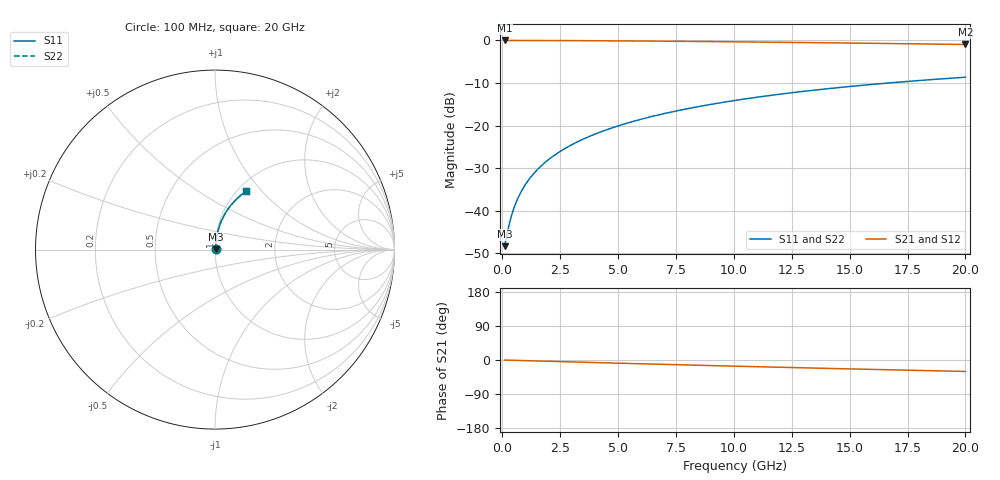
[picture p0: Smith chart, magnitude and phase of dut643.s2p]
! Touchstone file exported from HFSS 2024.1.0
!  File:  C:/UserFiles/LocalFiles/RDL_TSV_Batchsim/temp_RDL_bottom_643_1779784978.aedt
!  Generated:  04:45:22 PM May 26, 2026
!  Design:  RDL_bottom
!  Project:  temp_RDL_bottom_643_1779784978
!  Setup:  Setup1
!  Solution:  Sweep
! Variables:
!  dtsv = 10.80580581um
!  hbump = 3um
!  htsv = 59.97um
!  ldown = 362.44um
!  lrdl = 100um
!  p = 40
!  p1 = 47.27um
!  rhole = 1um
!  t = 450um
!  tdown = 3.44um
!  trdl = 3.915915916um
!  wdown = 11.95um
!  wrdl = 20um
# GHz S MA R 50.000000
! Terminal data exported
! Port[1] = RDL1_T1
! Port[2] = RDL1_T2
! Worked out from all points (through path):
!   200 points, 100 MHz to 20 GHz, reference 50 ohm
!   highest |S21| = -0.03 dB at 100 MHz (marker M1); lowest = -1.0 dB at 20 GHz (marker M2)
!   group delay of S21, straight-line fit = 4.19 ps
!   lowest |S11| = -48.3 dB at 100 MHz (marker M3), VSWR 1.01, Z = 50.3 + j0.206 ohm
!   |S11| at or under -10 dB: start of sweep to 16.71 GHz
!   |S22| runs from -48.3 to -8.7 dB; largest |S21 - S12| = 2.6e-15
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0.1  0.003829 32.3  0.9968 -0.2  0.9968 -0.2  0.003829 32.3
! Gamma 0 0 0 0
! Port Impedance 50 0 50 0
0.2  0.005242 51.2  0.9967 -0.4  0.9967 -0.4  0.005242 51.2
0.3  0.006967 61.2  0.9966 -0.5  0.9966 -0.5  0.006967 61.2
0.4  0.008805 67.0  0.9966 -0.7  0.9966 -0.7  0.008805 67.0
0.5  0.01069 70.7  0.9965 -0.9  0.9965 -0.9  0.01069 70.7
0.6  0.01259 73.2  0.9964 -1.0  0.9964 -1.0  0.01259 73.2
0.8  0.01644 76.5  0.9962 -1.4  0.9962 -1.4  0.01644 76.5
1.1  0.02224 79.2  0.9958 -1.9  0.9958 -1.9  0.02224 79.2
1.5  0.03003 81.0  0.9953 -2.6  0.9953 -2.6  0.03003 81.0
1.8  0.03589 81.8  0.9949 -3.1  0.9949 -3.1  0.0359 81.8
2.1  0.04178 82.2  0.9943 -3.6  0.9943 -3.6  0.04178 82.2
2.7  0.05357 82.5  0.9931 -4.6  0.9931 -4.6  0.05357 82.5
3.5  0.06932 82.3  0.991 -5.9  0.991 -5.9  0.06932 82.3
4.2  0.08312 81.9  0.9888 -7.1  0.9888 -7.1  0.08312 81.9
5  0.09888 81.2  0.9859 -8.4  0.9859 -8.4  0.09888 81.2
5.9  0.1166 80.3  0.9822 -9.9  0.9822 -9.9  0.1166 80.3
6.8  0.1342 79.3  0.9782 -11.3  0.9782 -11.3  0.1342 79.2
8.3  0.1634 77.4  0.9706 -13.6  0.9706 -13.6  0.1634 77.4
10.1  0.1979 75.1  0.9606 -16.4  0.9606 -16.4  0.1979 75.0
13.4  0.2589 70.6  0.9402 -21.2  0.9402 -21.2  0.2588 70.6
16.7  0.3161 66.1  0.9179 -25.8  0.9179 -25.8  0.316 66.1
20  0.3689 61.8  0.8943 -30.2  0.8943 -30.2  0.3689 61.8
